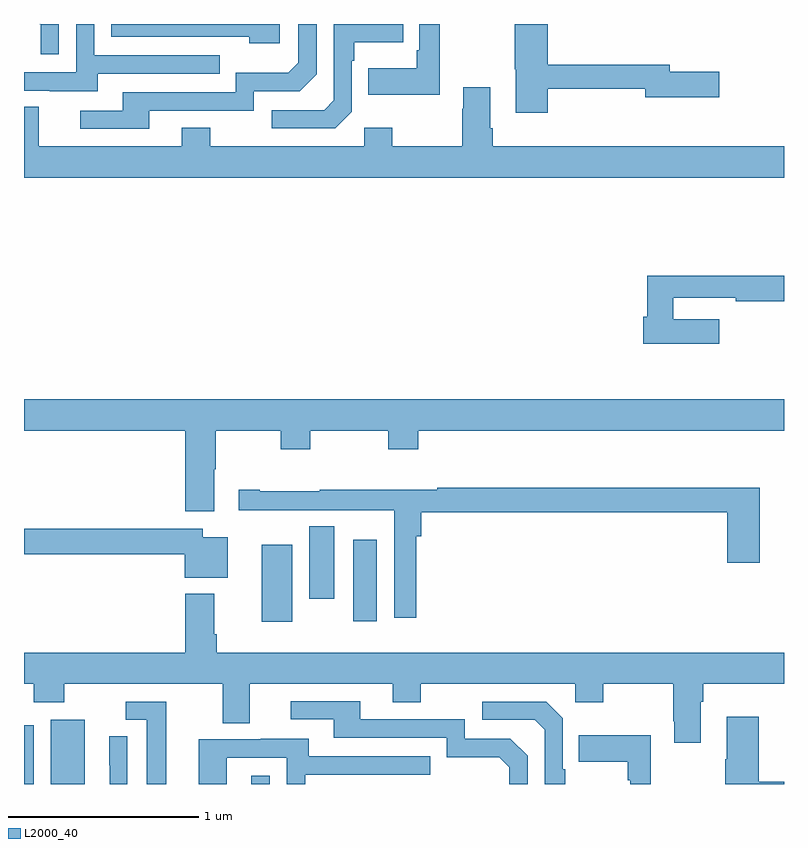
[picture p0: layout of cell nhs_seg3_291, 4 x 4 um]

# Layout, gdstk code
import gdstk
lib = gdstk.Library(unit=1e-6, precision=1e-09)
def R(c, l, rs):  # rectangles x0, y0, x1, y1
    for r in rs: c.add(gdstk.rectangle(r[:2], r[2:], *l))
def P(c, l, *ps):  # polygons
    for p in ps: c.add(gdstk.Polygon(p, *l))
L2000_40 = (2000, 40)

nhs_seg3_291 = lib.new_cell('nhs_seg3_291')
R(nhs_seg3_291, L2000_40, [(125,688.4,125.052,688.71), (125.141,688.4,125.32,688.738), (126.197,688.4,126.294,688.444), (126.251,689.253,126.412,689.659), (126.734,689.256,126.856,689.686), (126.5,689.376,126.634,689.756)])
P(nhs_seg3_291, L2000_40, [(126.346,692.4),(125.46,692.4),(125.46,692.334),(126.185,692.334),(126.185,692.3),(126.346,692.3)],
  [(127.189,692.4),(127.08,692.4),(127.08,692.263),(127.068,692.263),(127.068,692.167),(126.811,692.167),(126.811,692.027),(127.189,692.027)],
  [(126.726,691.938),(126.726,692.207),(126.739,692.207),(126.739,692.303),(126.995,692.303),(126.995,692.4),(126.63,692.4),(126.63,691.998),(126.579,691.947),(126.303,691.947),(126.303,691.851),(126.639,691.851)],
  [(127.757,692.058),(128.27,692.058),(128.27,692.015),(128.659,692.015),(128.659,692.15),(128.398,692.15),(128.398,692.186),(127.757,692.186),(127.757,692.4),(127.582,692.4),(127.582,692.163),(127.589,692.163),(127.589,691.932),(127.757,691.932)],
  [(125.659,691.944),(126.21,691.944),(126.21,692.046),(126.45,692.046),(126.54,692.136),(126.54,692.4),(126.444,692.4),(126.444,692.196),(126.391,692.143),(126.114,692.143),(126.114,692.04),(125.519,692.04),(125.519,691.944),(125.295,691.944),(125.295,691.848),(125.659,691.848)],
  [(125.389,692.139),(126.029,692.139),(126.029,692.235),(125.37,692.235),(125.37,692.4),(125.274,692.4),(125.274,692.145),(125,692.145),(125,692.049),(125.135,692.049),(125.135,692.045),(125.389,692.045)],
  [(125.184,692.4),(125.084,692.4),(125.087,692.397),(125.087,692.241),(125.184,692.241)],
  [(129,691.756),(127.466,691.756),(127.466,691.852),(127.453,691.852),(127.453,692.068),(127.313,692.068),(127.313,691.955),(127.306,691.955),(127.306,691.756),(126.939,691.756),(126.939,691.855),(126.792,691.855),(126.792,691.756),(125.979,691.756),(125.979,691.855),(125.831,691.855),(125.831,691.756),(125.077,691.756),(125.077,691.964),(125,691.964),(125,691.592),(129,691.592)],
  [(128.659,690.847),(128.417,690.847),(128.417,690.96),(128.746,690.96),(128.746,690.94),(129,690.94),(129,691.076),(128.281,691.076),(128.281,690.86),(128.258,690.86),(128.258,690.718),(128.659,690.718)],
  [(126.001,690.056),(126.009,690.056),(126.009,690.26),(126.352,690.26),(126.352,690.161),(126.507,690.161),(126.507,690.26),(126.916,690.26),(126.916,690.161),(127.076,690.161),(127.076,690.26),(129,690.26),(129,690.424),(125,690.424),(125,690.26),(125.849,690.26),(125.849,689.835),(126.001,689.835)],
  [(127.064,689.705),(127.091,689.705),(127.091,689.83),(128.702,689.83),(128.702,689.565),(128.872,689.565),(128.872,689.959),(127.174,689.959),(127.174,689.948),(126.972,689.948),(126.972,689.95),(126.557,689.95),(126.557,689.94),(126.241,689.94),(126.241,689.95),(126.129,689.95),(126.129,689.84),(126.404,689.84),(126.404,689.841),(126.738,689.841),(126.738,689.84),(126.948,689.84),(126.948,689.274),(127.064,689.274)],
  [(126.073,689.698),(125.94,689.698),(125.94,689.744),(125,689.744),(125,689.608),(125.846,689.608),(125.846,689.486),(126.073,689.486)],
  [(128.563,688.832),(128.576,688.832),(128.576,688.928),(129,688.928),(129,689.092),(126.014,689.092),(126.014,689.188),(126.001,689.188),(126.001,689.401),(125.849,689.401),(125.849,689.092),(125,689.092),(125,688.928),(125.051,688.928),(125.051,688.829),(125.211,688.829),(125.211,688.928),(126.047,688.928),(126.047,688.72),(126.187,688.72),(126.187,688.928),(126.941,688.928),(126.941,688.829),(127.089,688.829),(127.089,688.928),(127.902,688.928),(127.902,688.829),(128.049,688.829),(128.049,688.928),(128.416,688.928),(128.416,688.729),(128.423,688.729),(128.423,688.617),(128.563,688.617)],
  [(127.65,688.548),(127.56,688.638),(127.32,688.638),(127.32,688.74),(126.769,688.74),(126.769,688.836),(126.405,688.836),(126.405,688.74),(126.629,688.74),(126.629,688.644),(127.224,688.644),(127.224,688.541),(127.501,688.541),(127.554,688.488),(127.554,688.4),(127.65,688.4)],
  [(125.749,688.833),(125.535,688.833),(125.535,688.737),(125.645,688.737),(125.645,688.4),(125.749,688.4)],
  [(127.849,688.477),(127.836,688.477),(127.836,688.746),(127.749,688.833),(127.413,688.833),(127.413,688.737),(127.689,688.737),(127.74,688.686),(127.74,688.4),(127.849,688.4)],
  [(129,688.412),(128.867,688.412),(128.867,688.753),(128.699,688.753),(128.699,688.529),(128.692,688.529),(128.692,688.4),(129,688.4)],
  [(128.299,688.657),(127.921,688.657),(127.921,688.517),(128.178,688.517),(128.178,688.421),(128.19,688.421),(128.19,688.4),(128.299,688.4)],
  [(125.544,688.652),(125.448,688.652),(125.448,688.498),(125.45,688.498),(125.45,688.4),(125.544,688.4)],
  [(126.066,688.539),(126.384,688.539),(126.384,688.4),(126.48,688.4),(126.48,688.449),(127.139,688.449),(127.139,688.545),(126.499,688.545),(126.499,688.639),(126.245,688.639),(126.245,688.635),(125.921,688.635),(125.921,688.4),(126.066,688.4)])

lib.write_gds('nhs_seg3_291.gds')
